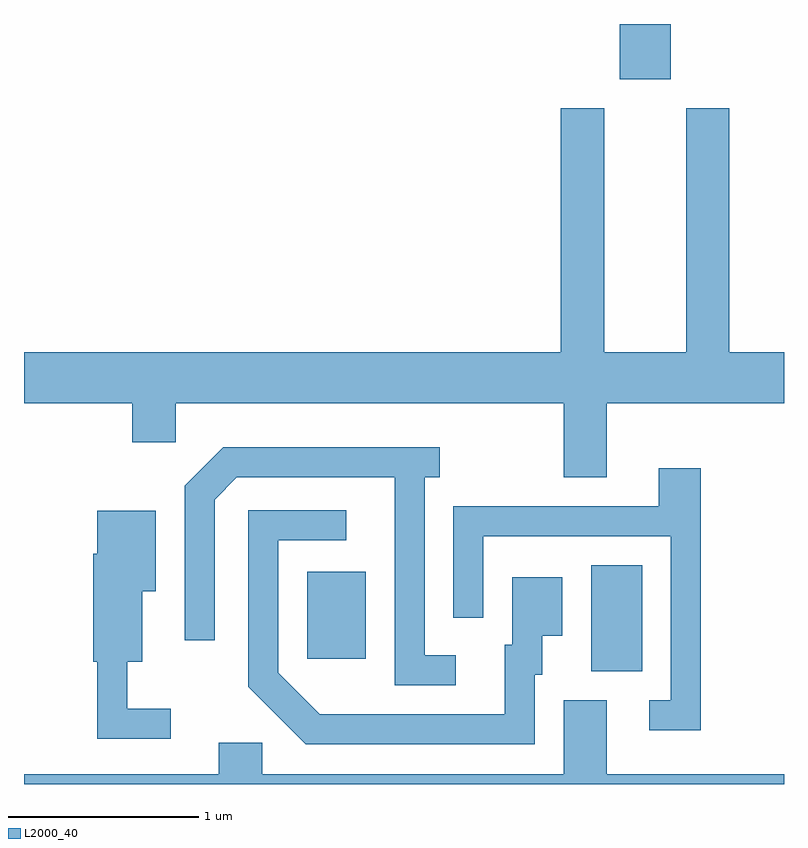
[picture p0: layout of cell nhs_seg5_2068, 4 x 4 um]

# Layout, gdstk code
import gdstk
lib = gdstk.Library(unit=1e-6, precision=1e-09)
def R(c, l, rs):  # rectangles x0, y0, x1, y1
    for r in rs: c.add(gdstk.rectangle(r[:2], r[2:], *l))
def P(c, l, *ps):  # polygons
    for p in ps: c.add(gdstk.Polygon(p, *l))
L2000_40 = (2000, 40)

nhs_seg5_2068 = lib.new_cell('nhs_seg5_2068')
R(nhs_seg5_2068, L2000_40, [(248.596,1508.666,248.864,1509.224), (247.101,1508.731,247.409,1509.189), (248.746,1511.781,249.014,1512.072)])
P(nhs_seg5_2068, L2000_40, [(248.679,1510.076),(249.611,1510.076),(249.611,1510.344),(249.324,1510.344),(249.324,1511.629),(249.096,1511.629),(249.096,1510.344),(248.664,1510.344),(248.664,1511.629),(248.436,1511.629),(248.436,1510.344),(245.611,1510.344),(245.611,1510.076),(246.181,1510.076),(246.181,1509.871),(246.409,1509.871),(246.409,1510.076),(248.451,1510.076),(248.451,1509.686),(248.679,1509.686)],
  [(247.883,1508.749),(247.719,1508.749),(247.719,1509.686),(247.798,1509.686),(247.798,1509.844),(246.659,1509.844),(246.456,1509.642),(246.456,1508.828),(246.614,1508.828),(246.614,1509.569),(246.732,1509.686),(247.561,1509.686),(247.561,1508.591),(247.883,1508.591)],
  [(249.174,1509.734),(248.951,1509.734),(248.951,1509.534),(247.871,1509.534),(247.871,1508.948),(248.029,1508.948),(248.029,1509.376),(249.016,1509.376),(249.016,1508.514),(248.903,1508.514),(248.903,1508.356),(249.174,1508.356)],
  [(248.299,1508.646),(248.339,1508.646),(248.339,1508.851),(248.444,1508.851),(248.444,1509.159),(248.181,1509.159),(248.181,1508.804),(248.141,1508.804),(248.141,1508.439),(247.167,1508.439),(246.949,1508.657),(246.949,1509.356),(247.308,1509.356),(247.308,1509.514),(246.791,1509.514),(246.791,1508.584),(247.094,1508.281),(248.299,1508.281)],
  [(246.383,1508.469),(246.154,1508.469),(246.154,1508.716),(246.234,1508.716),(246.234,1509.086),(246.304,1509.086),(246.304,1509.509),(245.996,1509.509),(245.996,1509.284),(245.976,1509.284),(245.976,1508.716),(245.996,1508.716),(245.996,1508.311),(246.383,1508.311)],
  [(249.611,1508.124),(248.679,1508.124),(248.679,1508.514),(248.451,1508.514),(248.451,1508.124),(246.864,1508.124),(246.864,1508.289),(246.636,1508.289),(246.636,1508.124),(245.611,1508.124),(245.611,1508.072),(249.611,1508.072)])

lib.write_gds('nhs_seg5_2068.gds')
